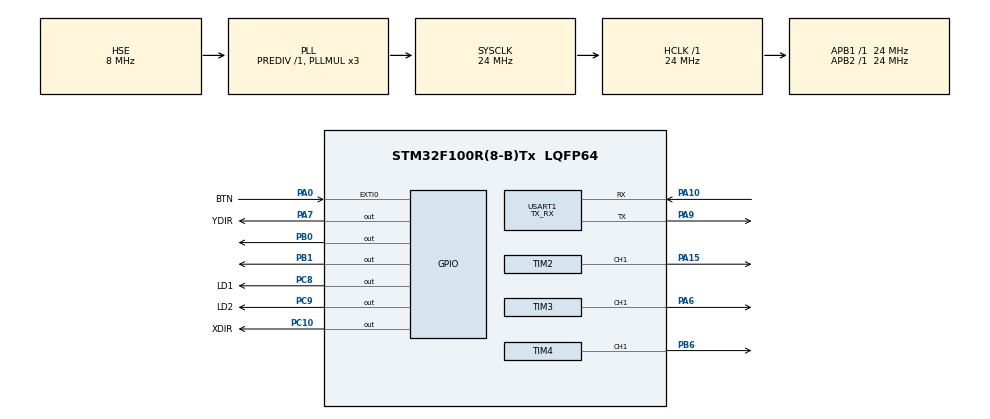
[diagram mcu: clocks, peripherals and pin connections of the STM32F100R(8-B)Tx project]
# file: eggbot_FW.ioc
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Dma.Request0=USART1_RX
Dma.Request1=USART1_TX
Dma.USART1_RX.0.Direction=DMA_PERIPH_TO_MEMORY
Dma.USART1_RX.0.Instance=DMA1_Channel5
Dma.USART1_RX.0.MemDataAlignment=DMA_MDATAALIGN_BYTE
Dma.USART1_RX.0.MemInc=DMA_MINC_ENABLE
Dma.USART1_RX.0.Mode=DMA_CIRCULAR
Dma.USART1_RX.0.PeriphDataAlignment=DMA_PDATAALIGN_BYTE
Dma.USART1_RX.0.PeriphInc=DMA_PINC_DISABLE
Dma.USART1_RX.0.Priority=DMA_PRIORITY_LOW
Dma.USART1_TX.1.Direction=DMA_MEMORY_TO_PERIPH
Dma.USART1_TX.1.Instance=DMA1_Channel4
Dma.USART1_TX.1.MemDataAlignment=DMA_MDATAALIGN_BYTE
Dma.USART1_TX.1.MemInc=DMA_MINC_ENABLE
Dma.USART1_TX.1.Mode=DMA_NORMAL
Dma.USART1_TX.1.PeriphDataAlignment=DMA_PDATAALIGN_BYTE
Dma.USART1_TX.1.PeriphInc=DMA_PINC_DISABLE
Dma.USART1_TX.1.Priority=DMA_PRIORITY_LOW
Mcu.Family=STM32F1
Mcu.Name=STM32F100R(8-B)Tx
Mcu.Package=LQFP64
NVIC.DMA1_Channel4_IRQn=true\:0\:0\:false\:false\:true\:false\:true\:true
NVIC.DMA1_Channel5_IRQn=true\:0\:0\:false\:false\:true\:false\:true\:true
NVIC.EXTI0_IRQn=true\:0\:0\:false\:false\:true\:true\:true\:true
NVIC.PriorityGroup=NVIC_PRIORITYGROUP_4
NVIC.TIM2_IRQn=true\:0\:0\:false\:false\:true\:true\:true\:true
NVIC.TIM3_IRQn=true\:0\:0\:false\:false\:true\:true\:true\:true
PA0-WKUP.GPIO_Label=BTN
PA0-WKUP.GPIO_ModeDefaultEXTI=GPIO_MODE_IT_RISING
PA0-WKUP.Signal=GPXTI0
PA10.Mode=Asynchronous
PA10.Signal=USART1_RX
PA13.Mode=Serial_Wire
PA13.Signal=SYS_JTMS-SWDIO
PA14.Mode=Serial_Wire
PA14.Signal=SYS_JTCK-SWCLK
PA15.Signal=S_TIM2_CH1_ETR
PA6.Signal=S_TIM3_CH1
PA7.GPIO_Label=YDIR
PA7.Signal=GPIO_Output
PA9.Mode=Asynchronous
PA9.Signal=USART1_TX
PB0.Signal=GPIO_Output
PB1.PinState=GPIO_PIN_SET
PB1.Signal=GPIO_Output
PB6.Signal=S_TIM4_CH1
PC10.GPIO_Label=XDIR
PC10.Signal=GPIO_Output
PC8.GPIO_Label=LD1
PC8.Signal=GPIO_Output
PC9.GPIO_Label=LD2
PC9.Signal=GPIO_Output
PD0-OSC_IN.Mode=HSE-External-Oscillator
PD0-OSC_IN.Signal=RCC_OSC_IN
PD1-OSC_OUT.Mode=HSE-External-Oscillator
PD1-OSC_OUT.Signal=RCC_OSC_OUT
ProjectManager.HeapSize=0x200
ProjectManager.StackSize=0x400
ProjectManager.TargetToolchain=STM32CubeIDE
RCC.AHBFreq_Value=24000000
RCC.APB1Freq_Value=24000000
RCC.APB1TimFreq_Value=24000000
RCC.APB2Freq_Value=24000000
RCC.APB2TimFreq_Value=24000000
RCC.HCLKFreq_Value=24000000
RCC.PLLMUL=RCC_PLL_MUL3
RCC.PLLSource=RCC_PLLSOURCE_HSE
RCC.SYSCLKFreq_VALUE=24000000
RCC.SYSCLKSource=RCC_SYSCLKSOURCE_PLLCLK
SH.S_TIM2_CH1_ETR.0=TIM2_CH1,PWM Generation1 CH1
SH.S_TIM3_CH1.0=TIM3_CH1,PWM Generation1 CH1
SH.S_TIM4_CH1.0=TIM4_CH1,PWM Generation1 CH1
TIM2.AutoReloadPreload=TIM_AUTORELOAD_PRELOAD_ENABLE
TIM2.Channel-PWM\ Generation1\ CH1=TIM_CHANNEL_1
TIM2.Period=49999
TIM2.Prescaler=0
TIM2.Pulse-PWM\ Generation1\ CH1=47
TIM3.AutoReloadPreload=TIM_AUTORELOAD_PRELOAD_ENABLE
TIM3.Channel-PWM\ Generation1\ CH1=TIM_CHANNEL_1
TIM3.Period=29999
TIM3.Prescaler=0
TIM3.Pulse-PWM\ Generation1\ CH1=47
TIM4.AutoReloadPreload=TIM_AUTORELOAD_PRELOAD_ENABLE
TIM4.Channel-PWM\ Generation1\ CH1=TIM_CHANNEL_1
TIM4.Period=59999
TIM4.Prescaler=7
TIM4.Pulse-PWM\ Generation1\ CH1=2999
USART1.Mode=MODE_TX_RX
USART1.VirtualMode=VM_ASYNC
VP_TIM2_VS_ClockSourceINT.Mode=Internal
VP_TIM3_VS_ClockSourceINT.Mode=Internal
VP_TIM4_VS_ClockSourceINT.Mode=Internal
board=custom

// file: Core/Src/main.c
/* USER CODE BEGIN Header */
/**
  ******************************************************************************
  * @file           : main.c
  * @brief          : Main program body
  ******************************************************************************
  * @attention
  *
  * Copyright (c) 2022 STMicroelectronics.
  * All rights reserved.
  *
  * This software is licensed under terms that can be found in the LICENSE file
  * in the root directory of this software component.
  * If no LICENSE file comes with this software, it is provided AS-IS.
  *
  ******************************************************************************
  */
/* USER CODE END Header */
#include "main.h"

/* USER CODE BEGIN Includes */
#include "math.h"

/* USER CODE END Includes */

/* USER CODE BEGIN PD */
#define LIMIT_PIN (1)
#define RX_BUFF_SIZE (64)
#define TX_BUFF_SIZE (16)
#define CMD_BUFFER_SIZE (16)
#define STEPPER_X_MAX (200*16)
#define STEPPER_Y_MAX (850)
#define SERVO_UP_POSITION (4700)
#define SERVO_DOWN_POSITION (5300)
#define STEPS_FROM_ZERO (20)
#define STEPPER_PULSE_WIDTH (0.000002)
/* USER CODE END PD */

/* USER CODE BEGIN PM */
#define min(a,b) a>b?b:a
/* USER CODE END PM */

 TIM_HandleTypeDef htim2;
TIM_HandleTypeDef htim3;
TIM_HandleTypeDef htim4;

UART_HandleTypeDef huart1;
DMA_HandleTypeDef hdma_usart1_rx;
DMA_HandleTypeDef hdma_usart1_tx;

void SystemClock_Config(void);
static void MX_GPIO_Init(void);
static void MX_DMA_Init(void);
static void MX_USART1_UART_Init(void);
static void MX_TIM2_Init(void);
static void MX_TIM3_Init(void);
static void MX_TIM4_Init(void);
/* USER CODE BEGIN PFP */
void set_speed(uint16_t x_speed, uint16_t y_speed);
void move_steppers(int16_t xrel, int16_t yrel);
void zero_steppers();
void send_message(uint8_t* msg, int len);
int process_command();
void command_buffer_overflow();
void report_position();
void report_max_position();
/* USER CODE END PFP */

/* USER CODE BEGIN 0 */

uint8_t command_buffer[CMD_BUFFER_SIZE], command_buffer_pos = 0;
uint8_t rx_buffer[RX_BUFF_SIZE];
uint8_t tx_buffer[TX_BUFF_SIZE];

int16_t stepper_x_count = 0, stepper_x_goal = 0, stepper_x_direction = 1, stepper_x_speed = 100;
int16_t stepper_y_count = 0, stepper_y_goal = 0, stepper_y_direction = 1, stepper_y_speed = 100;
uint8_t stepper_x_moving = 0, stepper_y_moving = 0;
uint8_t zeroed = 0, limit_flag = 0, ignore_limit = 0, zeroing = 0;

volatile int tmp = 0;

/* USER CODE END 0 */

int main(void)
{

  /* MCU Configuration--------------------------------------------------------*/

  /* Reset of all peripherals, Initializes the Flash interface and the Systick. */
  HAL_Init();

  /* Configure the system clock */
  SystemClock_Config();

  /* Initialize all configured peripherals */
  MX_GPIO_Init();
  MX_DMA_Init();
  MX_USART1_UART_Init();
  MX_TIM2_Init();
  MX_TIM3_Init();
  MX_TIM4_Init();

  /* Infinite loop */
  /* USER CODE BEGIN WHILE */

//  volatile HAL_StatusTypeDef tmp = HAL_TIM_Base_Start(&htim2);

  htim4.Instance->CCR1 = (int)(SERVO_UP_POSITION);
  HAL_TIM_PWM_Start_IT(&htim4, TIM_CHANNEL_1);
  HAL_UART_Receive_DMA(&huart1, rx_buffer, RX_BUFF_SIZE);
  limit_flag = 0;

  int current_active = RX_BUFF_SIZE-1, new_active = RX_BUFF_SIZE-1;
  while (1)
  {
	  new_active = (2*RX_BUFF_SIZE - hdma_usart1_rx.Instance->CNDTR-1)%RX_BUFF_SIZE;
	  while (current_active != new_active)
	  {
		  current_active = (current_active + 1)%RX_BUFF_SIZE;
		  command_buffer[command_buffer_pos]=rx_buffer[current_active];
		  command_buffer_pos += 1;
		  if (process_command())
		  {
			  command_buffer_pos = 0;
		  }

	  }

//	  HAL_Delay(1);
////	  if (HAL_GPIO_ReadPin(BTN_GPIO_Port, BTN_Pin))
////	  {
//		  count = 0;
//		  count3 = 0;
//		  htim4.Instance->CCR1 = (int)(pos * 3000.0 + 3000.0)-1;
//		  pos = pos + 0.02;
//		  if (pos > 1.5)
//			  pos = -0.6;
////		  HAL_TIM_PWM_Start_IT(&htim2, TIM_CHANNEL_1);
////		  HAL_TIM_PWM_Start_IT(&htim3, TIM_CHANNEL_1);
//		  HAL_Delay(100);
////		  while (HAL_GPIO_ReadPin(BTN_GPIO_Port, BTN_Pin))
////		  {}
////		  HAL_Delay(10);

//	  }
//	  HAL_GPIO_TogglePin(LD2_GPIO_Port, LD2_Pin);
//	  HAL_GPIO_TogglePin(LD1_GPIO_Port, LD1_Pin);

    /* USER CODE END WHILE */

  }
}

void SystemClock_Config(void)
{
  RCC_OscInitTypeDef RCC_OscInitStruct = {0};
  RCC_ClkInitTypeDef RCC_ClkInitStruct = {0};

  /** Initializes the RCC Oscillators according to the specified parameters
  * in the RCC_OscInitTypeDef structure.
  */
  RCC_OscInitStruct.OscillatorType = RCC_OSCILLATORTYPE_HSE;
  RCC_OscInitStruct.HSEState = RCC_HSE_ON;
  RCC_OscInitStruct.HSEPredivValue = RCC_HSE_PREDIV_DIV1;
  RCC_OscInitStruct.PLL.PLLState = RCC_PLL_ON;
  RCC_OscInitStruct.PLL.PLLSource = RCC_PLLSOURCE_HSE;
  RCC_OscInitStruct.PLL.PLLMUL = RCC_PLL_MUL3;
  if (HAL_RCC_OscConfig(&RCC_OscInitStruct) != HAL_OK)
  {
    Error_Handler();
  }

  /** Initializes the CPU, AHB and APB buses clocks
  */
  RCC_ClkInitStruct.ClockType = RCC_CLOCKTYPE_HCLK|RCC_CLOCKTYPE_SYSCLK
                              |RCC_CLOCKTYPE_PCLK1|RCC_CLOCKTYPE_PCLK2;
  RCC_ClkInitStruct.SYSCLKSource = RCC_SYSCLKSOURCE_PLLCLK;
  RCC_ClkInitStruct.AHBCLKDivider = RCC_SYSCLK_DIV1;
  RCC_ClkInitStruct.APB1CLKDivider = RCC_HCLK_DIV1;
  RCC_ClkInitStruct.APB2CLKDivider = RCC_HCLK_DIV1;

  if (HAL_RCC_ClockConfig(&RCC_ClkInitStruct, FLASH_LATENCY_0) != HAL_OK)
  {
    Error_Handler();
  }
}

static void MX_TIM2_Init(void)
{

  TIM_ClockConfigTypeDef sClockSourceConfig = {0};
  TIM_MasterConfigTypeDef sMasterConfig = {0};
  TIM_OC_InitTypeDef sConfigOC = {0};

  htim2.Instance = TIM2;
  htim2.Init.Prescaler = 0;
  htim2.Init.CounterMode = TIM_COUNTERMODE_UP;
  htim2.Init.Period = 49999;
  htim2.Init.ClockDivision = TIM_CLOCKDIVISION_DIV1;
  htim2.Init.AutoReloadPreload = TIM_AUTORELOAD_PRELOAD_ENABLE;
  if (HAL_TIM_Base_Init(&htim2) != HAL_OK)
  {
    Error_Handler();
  }
  sClockSourceConfig.ClockSource = TIM_CLOCKSOURCE_INTERNAL;
  if (HAL_TIM_ConfigClockSource(&htim2, &sClockSourceConfig) != HAL_OK)
  {
    Error_Handler();
  }
  if (HAL_TIM_PWM_Init(&htim2) != HAL_OK)
  {
    Error_Handler();
  }
  sMasterConfig.MasterOutputTrigger = TIM_TRGO_RESET;
  sMasterConfig.MasterSlaveMode = TIM_MASTERSLAVEMODE_DISABLE;
  if (HAL_TIMEx_MasterConfigSynchronization(&htim2, &sMasterConfig) != HAL_OK)
  {
    Error_Handler();
  }
  sConfigOC.OCMode = TIM_OCMODE_PWM1;
  sConfigOC.Pulse = 47;
  sConfigOC.OCPolarity = TIM_OCPOLARITY_HIGH;
  sConfigOC.OCFastMode = TIM_OCFAST_DISABLE;
  if (HAL_TIM_PWM_ConfigChannel(&htim2, &sConfigOC, TIM_CHANNEL_1) != HAL_OK)
  {
    Error_Handler();
  }
  HAL_TIM_MspPostInit(&htim2);

}

static void MX_TIM3_Init(void)
{

  TIM_ClockConfigTypeDef sClockSourceConfig = {0};
  TIM_MasterConfigTypeDef sMasterConfig = {0};
  TIM_OC_InitTypeDef sConfigOC = {0};

  htim3.Instance = TIM3;
  htim3.Init.Prescaler = 0;
  htim3.Init.CounterMode = TIM_COUNTERMODE_UP;
  htim3.Init.Period = 29999;
  htim3.Init.ClockDivision = TIM_CLOCKDIVISION_DIV1;
  htim3.Init.AutoReloadPreload = TIM_AUTORELOAD_PRELOAD_ENABLE;
  if (HAL_TIM_Base_Init(&htim3) != HAL_OK)
  {
    Error_Handler();
  }
  sClockSourceConfig.ClockSource = TIM_CLOCKSOURCE_INTERNAL;
  if (HAL_TIM_ConfigClockSource(&htim3, &sClockSourceConfig) != HAL_OK)
  {
    Error_Handler();
  }
  if (HAL_TIM_PWM_Init(&htim3) != HAL_OK)
  {
    Error_Handler();
  }
  sMasterConfig.MasterOutputTrigger = TIM_TRGO_RESET;
  sMasterConfig.MasterSlaveMode = TIM_MASTERSLAVEMODE_DISABLE;
  if (HAL_TIMEx_MasterConfigSynchronization(&htim3, &sMasterConfig) != HAL_OK)
  {
    Error_Handler();
  }
  sConfigOC.OCMode = TIM_OCMODE_PWM1;
  sConfigOC.Pulse = 47;
  sConfigOC.OCPolarity = TIM_OCPOLARITY_HIGH;
  sConfigOC.OCFastMode = TIM_OCFAST_DISABLE;
  if (HAL_TIM_PWM_ConfigChannel(&htim3, &sConfigOC, TIM_CHANNEL_1) != HAL_OK)
  {
    Error_Handler();
  }
  HAL_TIM_MspPostInit(&htim3);

}

static void MX_TIM4_Init(void)
{

  TIM_ClockConfigTypeDef sClockSourceConfig = {0};
  TIM_MasterConfigTypeDef sMasterConfig = {0};
  TIM_OC_InitTypeDef sConfigOC = {0};

  htim4.Instance = TIM4;
  htim4.Init.Prescaler = 7;
  htim4.Init.CounterMode = TIM_COUNTERMODE_UP;
  htim4.Init.Period = 59999;
  htim4.Init.ClockDivision = TIM_CLOCKDIVISION_DIV1;
  htim4.Init.AutoReloadPreload = TIM_AUTORELOAD_PRELOAD_ENABLE;
  if (HAL_TIM_Base_Init(&htim4) != HAL_OK)
  {
    Error_Handler();
  }
  sClockSourceConfig.ClockSource = TIM_CLOCKSOURCE_INTERNAL;
  if (HAL_TIM_ConfigClockSource(&htim4, &sClockSourceConfig) != HAL_OK)
  {
    Error_Handler();
  }
  if (HAL_TIM_PWM_Init(&htim4) != HAL_OK)
  {
    Error_Handler();
  }
  sMasterConfig.MasterOutputTrigger = TIM_TRGO_RESET;
  sMasterConfig.MasterSlaveMode = TIM_MASTERSLAVEMODE_DISABLE;
  if (HAL_TIMEx_MasterConfigSynchronization(&htim4, &sMasterConfig) != HAL_OK)
  {
    Error_Handler();
  }
  sConfigOC.OCMode = TIM_OCMODE_PWM1;
  sConfigOC.Pulse = 2999;
  sConfigOC.OCPolarity = TIM_OCPOLARITY_HIGH;
  sConfigOC.OCFastMode = TIM_OCFAST_DISABLE;
  if (HAL_TIM_PWM_ConfigChannel(&htim4, &sConfigOC, TIM_CHANNEL_1) != HAL_OK)
  {
    Error_Handler();
  }
  HAL_TIM_MspPostInit(&htim4);

}

static void MX_USART1_UART_Init(void)
{

  huart1.Instance = USART1;
  huart1.Init.BaudRate = 115200;
  huart1.Init.WordLength = UART_WORDLENGTH_8B;
  huart1.Init.StopBits = UART_STOPBITS_1;
  huart1.Init.Parity = UART_PARITY_NONE;
  huart1.Init.Mode = UART_MODE_TX_RX;
  huart1.Init.HwFlowCtl = UART_HWCONTROL_NONE;
  huart1.Init.OverSampling = UART_OVERSAMPLING_16;
  if (HAL_UART_Init(&huart1) != HAL_OK)
  {
    Error_Handler();
  }

}

static void MX_DMA_Init(void)
{

  /* DMA controller clock enable */
  __HAL_RCC_DMA1_CLK_ENABLE();

  /* DMA interrupt init */
  /* DMA1_Channel4_IRQn interrupt configuration */
  HAL_NVIC_SetPriority(DMA1_Channel4_IRQn, 0, 0);
  HAL_NVIC_EnableIRQ(DMA1_Channel4_IRQn);
  /* DMA1_Channel5_IRQn interrupt configuration */
  HAL_NVIC_SetPriority(DMA1_Channel5_IRQn, 0, 0);
  HAL_NVIC_EnableIRQ(DMA1_Channel5_IRQn);

}

static void MX_GPIO_Init(void)
{
  GPIO_InitTypeDef GPIO_InitStruct = {0};

  /* GPIO Ports Clock Enable */
  __HAL_RCC_GPIOD_CLK_ENABLE();
  __HAL_RCC_GPIOA_CLK_ENABLE();
  __HAL_RCC_GPIOB_CLK_ENABLE();
  __HAL_RCC_GPIOC_CLK_ENABLE();

  /*Configure GPIO pin Output Level */
  HAL_GPIO_WritePin(YDIR_GPIO_Port, YDIR_Pin, GPIO_PIN_RESET);

  /*Configure GPIO pin Output Level */
  HAL_GPIO_WritePin(GPIOB, GPIO_PIN_0, GPIO_PIN_RESET);

  /*Configure GPIO pin Output Level */
  HAL_GPIO_WritePin(GPIOB, GPIO_PIN_1, GPIO_PIN_SET);

  /*Configure GPIO pin Output Level */
  HAL_GPIO_WritePin(GPIOC, LD1_Pin|LD2_Pin|XDIR_Pin, GPIO_PIN_RESET);

  /*Configure GPIO pin : BTN_Pin */
  GPIO_InitStruct.Pin = BTN_Pin;
  GPIO_InitStruct.Mode = GPIO_MODE_IT_RISING;
  GPIO_InitStruct.Pull = GPIO_NOPULL;
  HAL_GPIO_Init(BTN_GPIO_Port, &GPIO_InitStruct);

  /*Configure GPIO pin : YDIR_Pin */
  GPIO_InitStruct.Pin = YDIR_Pin;
  GPIO_InitStruct.Mode = GPIO_MODE_OUTPUT_PP;
  GPIO_InitStruct.Pull = GPIO_NOPULL;
  GPIO_InitStruct.Speed = GPIO_SPEED_FREQ_LOW;
  HAL_GPIO_Init(YDIR_GPIO_Port, &GPIO_InitStruct);

  /*Configure GPIO pins : PB0 PB1 */
  GPIO_InitStruct.Pin = GPIO_PIN_0|GPIO_PIN_1;
  GPIO_InitStruct.Mode = GPIO_MODE_OUTPUT_PP;
  GPIO_InitStruct.Pull = GPIO_NOPULL;
  GPIO_InitStruct.Speed = GPIO_SPEED_FREQ_LOW;
  HAL_GPIO_Init(GPIOB, &GPIO_InitStruct);

  /*Configure GPIO pins : LD1_Pin LD2_Pin XDIR_Pin */
  GPIO_InitStruct.Pin = LD1_Pin|LD2_Pin|XDIR_Pin;
  GPIO_InitStruct.Mode = GPIO_MODE_OUTPUT_PP;
  GPIO_InitStruct.Pull = GPIO_NOPULL;
  GPIO_InitStruct.Speed = GPIO_SPEED_FREQ_LOW;
  HAL_GPIO_Init(GPIOC, &GPIO_InitStruct);

  /* EXTI interrupt init*/
  HAL_NVIC_SetPriority(EXTI0_IRQn, 0, 0);
  HAL_NVIC_EnableIRQ(EXTI0_IRQn);

}

/* USER CODE BEGIN 4 */

void HAL_TIM_PWM_PulseFinishedCallback(TIM_HandleTypeDef *htim)
{
  UNUSED(htim);
  if (htim == &htim2)
	{
	  stepper_x_count += stepper_x_direction + STEPPER_X_MAX;
	  stepper_x_count %= STEPPER_X_MAX;
	  if (limit_flag && (!ignore_limit) && zeroing)
	  {
		  HAL_TIM_PWM_Stop_IT(htim, TIM_CHANNEL_1);
		  stepper_x_moving = 0;
		  return;
	  }
	  if (stepper_x_count == stepper_x_goal)
	  {
		  HAL_TIM_PWM_Stop_IT(htim, TIM_CHANNEL_1);
		  stepper_x_moving = 0;
		  return;
	  }
	}
  else if (htim == &htim3)
	{
	  stepper_y_count += stepper_y_direction;
	  if (limit_flag && (!ignore_limit) && zeroing)
	  {
		  HAL_TIM_PWM_Stop_IT(htim, TIM_CHANNEL_1);
		  stepper_y_moving = 0;
		  return;
	  }
	  if (stepper_y_count == stepper_y_goal)
	  {
		  HAL_TIM_PWM_Stop_IT(htim, TIM_CHANNEL_1);
		  stepper_y_moving = 0;
		  return;
	  }
	}

}

void set_speed(uint16_t x_speed, uint16_t y_speed)
{
	if (x_speed<1 || y_speed<1 || x_speed > 30000 || y_speed > 30000)
	{
		send_message("as\xff\xff",5);
		return;
	}
	stepper_x_speed = x_speed;
	stepper_y_speed = y_speed;
	tx_buffer[0] = 'a';
	tx_buffer[1] = 's';
	*(uint16_t*)(tx_buffer+2) = x_speed;
	*(uint16_t*)(tx_buffer+4) = y_speed;
	send_message(tx_buffer,6);
}

void report_position()
{
	tx_buffer[0] = 'a';
	tx_buffer[1] = 'r';
	tx_buffer[2] = 'a';
	*(uint16_t*)(tx_buffer+3) = stepper_x_count;
	*(uint16_t*)(tx_buffer+5) = stepper_y_count;
	send_message(tx_buffer,7);
}

void report_max_position()
{
	tx_buffer[0] = 'a';
	tx_buffer[1] = 'r';
	tx_buffer[2] = 'm';
	*(uint16_t*)(tx_buffer+3) = STEPPER_X_MAX;
	*(uint16_t*)(tx_buffer+5) = STEPPER_Y_MAX;
	send_message(tx_buffer,7);
}

void command_buffer_overflow()
{
	send_message("O",1);
	//Overflow message
}

int process_command()
{
	switch (command_buffer[0])
	{
	case 's':
		if (command_buffer_pos < 5)
		{
//			send_message("ai",2);
			return 0;
		}
		uint16_t speed_x, speed_y;
		speed_x =*(uint16_t*)(command_buffer+1);
		speed_y =*(uint16_t*)(command_buffer+3);
		set_speed(speed_x,speed_y);

	//set movement speed (sXXYY\r) -> (asXXYY) report exact movement speed (asFF in case of error)
		break;
	case 'm':
		if (command_buffer_pos < 5)
		{
//			send_message("ai",2);
			return 0;
		}
		int16_t rel_x, rel_y;
		rel_x =*(int16_t*)(command_buffer+1);
		rel_y =*(int16_t*)(command_buffer+3);
		move_steppers(rel_x,rel_y);
	//move relative  (mXXYY\r) -> (am) ack after done (amFFFF in case of error)
		break;
	case 'r':
		if (command_buffer_pos < 2)
		{
//			send_message("ai",2);
			return 0;
		}
		if (command_buffer[1] == 'a')
		{
			report_position();
		}
		else if (command_buffer[1] == 'm')
		{
			report_max_position();
		}
		else
		{
			send_message("ai",2);
			return;
		}
	//report absolute position (ra\r) -> (araXXYY)  FFFF in case of error
	//report max position (rm\r) -> (armXXYY)
		break;
	case 'z':
		if (command_buffer_pos < 1)
		{
//			send_message("ai",2);
			return 0;
		}
		zero_steppers();
	//zero out (z\r) -> (az)
		break;
	case 'p':
		if (command_buffer_pos < 2)
		{
//			send_message("ai",2);
			return 0;
		}
		if (command_buffer[1] == 'u')
		{
			while (htim4.Instance->CCR1 < (SERVO_UP_POSITION))
			{
				htim4.Instance->CCR1 = min(htim4.Instance->CCR1 + 30, SERVO_UP_POSITION);
				HAL_Delay(15);
			}
			send_message("apu",3);
		}
		else if (command_buffer[1] == 'd')
		{
			while (htim4.Instance->CCR1 < (SERVO_DOWN_POSITION))
			{
				htim4.Instance->CCR1 = min(htim4.Instance->CCR1 + 30, SERVO_DOWN_POSITION);
				HAL_Delay(15);
			}
			send_message("apd",3);
		}
		else
		{
			send_message("ai",2);
		}
	//lift pen (pu\r) -> (apu)
	//drop pen (pd\r) -> (apu)
		break;
	default:
		send_message("ai",2);
		break;
	}
	return 1;
}

void zero_steppers()
{
	//calculate based on speed for both x and y
	zeroing = 1;
	limit_flag = 0;
	stepper_y_goal = -1;
	stepper_y_direction = 0;
	HAL_GPIO_WritePin(YDIR_GPIO_Port, YDIR_Pin, GPIO_PIN_RESET);
	htim3.Instance->ARR = 39999;
	htim3.Instance->PSC = 3;
	htim3.Instance->CCR1 = 47;
	stepper_y_moving = 1;
	ignore_limit = 0;
	HAL_TIM_PWM_Start_IT(&htim3, TIM_CHANNEL_1);
	while (stepper_y_moving) {}

	HAL_GPIO_WritePin(YDIR_GPIO_Port, YDIR_Pin, GPIO_PIN_SET);
	stepper_y_count = - STEPS_FROM_ZERO;
	stepper_y_goal = 0;
	stepper_y_direction = 1;
	stepper_y_moving = 1;
	ignore_limit = 1;
	HAL_TIM_PWM_Start_IT(&htim3, TIM_CHANNEL_1);
	while (stepper_y_moving) {}
	limit_flag = 0;
	zeroed = 1;
	ignore_limit = 0;
	zeroing = 0;
	send_message("az",2);
}

void move_steppers(int16_t xrel, int16_t yrel)
{
	//calculate based on speed for both x and y
	int16_t xnew, ynew;
	double speed,time,prescale,count,xspeed,yspeed;
	xnew = stepper_x_count + xrel;
	ynew = stepper_y_count + yrel;
	if (ynew >= STEPPER_Y_MAX || ynew < 0 || !zeroed)
	{
		send_message("am\xFF\xFF\xFF\xFF",6);
		return;
	}
	if (xrel ==0 && yrel == 0 )
	{
		send_message("am\x00\x00\x00\x00",6);
		return;
	}
	stepper_x_goal = (xnew + STEPPER_X_MAX) % STEPPER_X_MAX;
	stepper_y_goal = ynew;
	speed =  1.0*abs(xrel)*stepper_x_speed +  1.0*abs(yrel)*stepper_y_speed;
	speed /=  1.0*(abs(xrel) + abs(yrel));
	time = sqrt(1.0*xrel*xrel + 1.0*yrel*yrel)/speed;
	if (xrel != 0)
	{
		xspeed = abs(xrel)/time;
		xspeed = 24e6/xspeed;
		prescale = ceil(xspeed / 65500);
		count = round(xspeed / prescale);
		htim2.Instance->ARR = (uint16_t)count-1;
		htim2.Instance->PSC = (uint16_t)prescale-1;
	}

	if (yrel != 0)
	{
		yspeed = abs(yrel)/time;
		yspeed = 24e6/yspeed;
		prescale = ceil(yspeed / 65500);
		count = round(yspeed / prescale);
		htim3.Instance->ARR = (uint16_t)count-1;
		htim3.Instance->PSC = (uint16_t)prescale-1;
	}
	if (xrel > 0)
	{
		stepper_x_direction = 1;
		HAL_GPIO_WritePin(XDIR_GPIO_Port, XDIR_Pin, GPIO_PIN_SET);
	}
	else
	{
		stepper_x_direction = -1;
		HAL_GPIO_WritePin(XDIR_GPIO_Port, XDIR_Pin, GPIO_PIN_RESET);
	}

	if (yrel > 0)
	{
		stepper_y_direction = 1;
		HAL_GPIO_WritePin(YDIR_GPIO_Port, YDIR_Pin, GPIO_PIN_SET);
	}
	else
	{
		stepper_y_direction = -1;
		HAL_GPIO_WritePin(YDIR_GPIO_Port, YDIR_Pin, GPIO_PIN_RESET);
	}
	if (xrel != 0)
	{
		stepper_x_moving = 1;
		HAL_TIM_PWM_Start_IT(&htim2, TIM_CHANNEL_1);
	}
	if (yrel != 0)
	{
		stepper_y_moving = 1;
		HAL_TIM_PWM_Start_IT(&htim3, TIM_CHANNEL_1);
	}
	while (stepper_x_moving || stepper_y_moving) {}

	tx_buffer[0] = 'a';
	tx_buffer[1] = 'm';
	*(int16_t*)(tx_buffer+2) = xrel;
	*(int16_t*)(tx_buffer+4) = yrel;
	send_message(tx_buffer,6);
}

void send_message(uint8_t* msg, int len)
{
	if (!msg) return;
	while (hdma_usart1_tx.State != HAL_DMA_STATE_READY)
	{}
	HAL_UART_AbortTransmit(&huart1);
	HAL_UART_Transmit_DMA(&huart1, msg, len);

}

void HAL_GPIO_EXTI_Callback(uint16_t GPIO_Pin)
{
	if (GPIO_Pin == LIMIT_PIN)
	{
		HAL_GPIO_TogglePin(LD2_GPIO_Port, LD2_Pin);
		limit_flag = 1;
	}
}

/* USER CODE END 4 */

void Error_Handler(void)
{
  __disable_irq();
  while (1)
  {
  }
}
